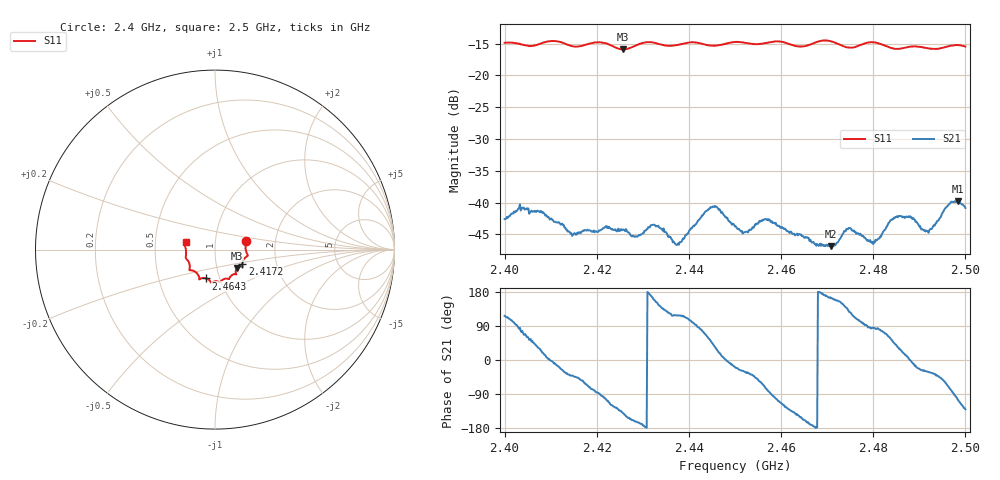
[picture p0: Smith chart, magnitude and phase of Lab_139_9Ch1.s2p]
# Hz S RI R 50
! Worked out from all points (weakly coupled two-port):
!   601 points, 2.4 GHz to 2.5 GHz, reference 50 ohm
!   highest |S21| = -39.76 dB at 2.4983 GHz (marker M1); lowest = -46.8 dB at 2.4708 GHz (marker M2)
!   lowest |S11| = -15.9 dB at 2.4257 GHz (marker M3), VSWR 1.38, Z = 62.5 - j13.1 ohm
!   |S11| at or under -10 dB: start of sweep to end of sweep
!   S12 and S22 are empty: the file has one direction only
!   S11 on the Smith chart (normalised r, x): 2.4 GHz: 1.41, +0.14; 2.4172 GHz: 1.34, -0.22; 2.4643 GHz: 0.86, -0.29; 2.5 GHz: 0.72, +0.06
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2.4e9  0.1734 0.0496  -0.00331 0.00665  0 0  0 0
2.403667e9  0.1728 0.0274  0.00249 0.00856  0 0  0 0
2.416667e9  0.153 -0.0746  0.00349 -0.00477  0 0  0 0
2.417167e9  0.1522 -0.0803  0.00308 -0.00516  0 0  0 0
2.425667e9  0.123 -0.1024  -0.00471 -0.00392  0 0  0 0
2.4285e9  0.1152 -0.1278  -0.0052 -0.00162  0 0  0 0
2.433333e9  0.1126 -0.1368  -0.00549 0.00365  0 0  0 0
2.437667e9  0.0841 -0.1525  -0.00223 0.00424  0 0  0 0
2.4455e9  0.0517 -0.1632  0.0074 0.00552  0 0  0 0
2.45e9  0.0292 -0.1808  0.00616 -0.00211  0 0  0 0
2.452167e9  0.0219 -0.1792  0.00501 -0.00308  0 0  0 0
2.457e9  -0.0133 -0.1804  0.00138 -0.00714  0 0  0 0
2.464333e9  -0.05 -0.1608  -0.00491 -0.00274  0 0  0 0
2.466667e9  -0.076 -0.1598  -0.0048 -0.000706  0 0  0 0
2.470833e9  -0.0873 -0.1638  -0.00435 0.00133  0 0  0 0
2.474667e9  -0.1031 -0.1293  -0.00397 0.00493  0 0  0 0
2.480167e9  -0.1428 -0.1131  0.000468 0.00491  0 0  0 0
2.483333e9  -0.1406 -0.09  0.0033 0.00612  0 0  0 0
2.487833e9  -0.1596 -0.052  0.00769 0.00019  0 0  0 0
2.491833e9  -0.1614 -0.027  0.00514 -0.00307  0 0  0 0
2.498333e9  -0.1698 0.0333  -0.00246 -0.00998  0 0  0 0
2.5e9  -0.1633 0.042  -0.00584 -0.00696  0 0  0 0
